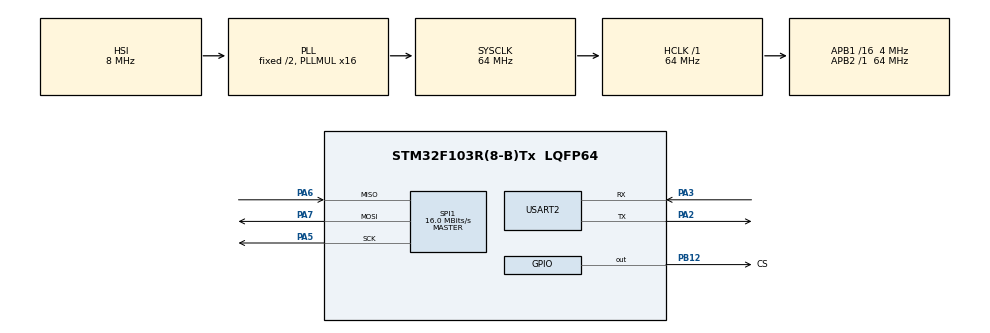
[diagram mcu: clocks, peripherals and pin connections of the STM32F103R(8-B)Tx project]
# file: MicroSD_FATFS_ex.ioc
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FATFS._MAX_SS=4096
FATFS._USE_LFN=1
Mcu.Family=STM32F1
Mcu.Name=STM32F103R(8-B)Tx
Mcu.Package=LQFP64
NVIC.PriorityGroup=NVIC_PRIORITYGROUP_4
PA13.Mode=Serial_Wire
PA13.Signal=SYS_JTMS-SWDIO
PA14.Mode=Serial_Wire
PA14.Signal=SYS_JTCK-SWCLK
PA2.Mode=Asynchronous
PA2.Signal=USART2_TX
PA3.Mode=Asynchronous
PA3.Signal=USART2_RX
PA5.Mode=Full_Duplex_Master
PA5.Signal=SPI1_SCK
PA6.Mode=Full_Duplex_Master
PA6.Signal=SPI1_MISO
PA7.Mode=Full_Duplex_Master
PA7.Signal=SPI1_MOSI
PB12.GPIO_Label=CS
PB12.GPIO_PuPd=GPIO_NOPULL
PB12.PinState=GPIO_PIN_SET
PB12.Signal=GPIO_Output
ProjectManager.HeapSize=0x200
ProjectManager.StackSize=0x400
ProjectManager.TargetToolchain=CMake
RCC.AHBFreq_Value=64000000
RCC.APB1CLKDivider=RCC_HCLK_DIV16
RCC.APB1Freq_Value=4000000
RCC.APB1TimFreq_Value=8000000
RCC.APB2Freq_Value=64000000
RCC.APB2TimFreq_Value=64000000
RCC.HCLKFreq_Value=64000000
RCC.PLLMUL=RCC_PLL_MUL16
RCC.SYSCLKFreq_VALUE=64000000
RCC.SYSCLKSource=RCC_SYSCLKSOURCE_PLLCLK
RCC.USBFreq_Value=64000000
SPI1.BaudRatePrescaler=SPI_BAUDRATEPRESCALER_4
SPI1.CalculateBaudRate=16.0 MBits/s
SPI1.Direction=SPI_DIRECTION_2LINES
SPI1.Mode=SPI_MODE_MASTER
SPI1.VirtualType=VM_MASTER
USART2.VirtualMode=VM_ASYNC
VP_FATFS_VS_Generic.Mode=User_defined
board=custom

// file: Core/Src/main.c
/* USER CODE BEGIN Header */
/**
 ******************************************************************************
 * @file           : main.c
 * @brief          : Main program body
 ******************************************************************************
 * @attention
 *
 * Copyright (c) 2025 STMicroelectronics.
 * All rights reserved.
 *
 * This software is licensed under terms that can be found in the LICENSE file
 * in the root directory of this software component.
 * If no LICENSE file comes with this software, it is provided AS-IS.
 *
 ******************************************************************************
 */
/* USER CODE END Header */
#include "main.h"
#include "fatfs.h"

/* USER CODE BEGIN Includes */
#include <stdarg.h>
#include <stdio.h>
#include <string.h>
/* USER CODE END Includes */

SPI_HandleTypeDef hspi1;

UART_HandleTypeDef huart2;

void        SystemClock_Config(void);
static void MX_GPIO_Init(void);
static void MX_SPI1_Init(void);
static void MX_USART2_UART_Init(void);

/* USER CODE BEGIN 0 */

void loop() { HAL_Delay(500); }
/* USER CODE END 0 */

int main(void) {

    /* MCU
     * Configuration--------------------------------------------------------*/

    /* Reset of all peripherals, Initializes the Flash interface and the
     * Systick. */
    HAL_Init();

    /* Configure the system clock */
    SystemClock_Config();

    /* Initialize all configured peripherals */
    MX_GPIO_Init();
    MX_SPI1_Init();
    MX_USART2_UART_Init();
    MX_FATFS_Init();
    /* USER CODE BEGIN 2 */
    FATFS   fs;
    FIL     fil;
    uint8_t buf[256];
    UINT    size;
    DIR     dir;
    char    str[256] = "UART Start";
    HAL_UART_Transmit(&huart2, (uint8_t *)str, strlen(str), 0xFF);

    FRESULT fr = f_mount(&fs, "", 0);
    if (fr != FR_OK) {
        Error_Handler();
    }
    fr = f_chdir("testdir");
    fr = f_open(&fil, "hello.txt", FA_READ | FA_WRITE);
    f_lseek(&fil, f_size(&fil));
    f_puts("12340000", &fil);
    /**
     * 파일을 닫아야 버퍼에 남은 데이터들이 저장된다.
     */
    fr = f_close(&fil);
    if (fr != FR_OK) {
        Error_Handler();
    }
    fr = f_open(&fil, "hello.txt", FA_READ | FA_WRITE);
    f_gets((TCHAR *)buf, 256, &fil);
    if (fr != FR_OK) {
        Error_Handler();
    }
    f_mount(NULL, "", 1);
    HAL_UART_Transmit(&huart2, (uint8_t *)buf, strlen((char *)buf), 0xFF);

    /* USER CODE END 2 */

    /* Infinite loop */
    while (1) {

    }
}

void SystemClock_Config(void) {
    RCC_OscInitTypeDef RCC_OscInitStruct = {0};
    RCC_ClkInitTypeDef RCC_ClkInitStruct = {0};

    /** Initializes the RCC Oscillators according to the specified parameters
     * in the RCC_OscInitTypeDef structure.
     */
    RCC_OscInitStruct.OscillatorType      = RCC_OSCILLATORTYPE_HSI;
    RCC_OscInitStruct.HSIState            = RCC_HSI_ON;
    RCC_OscInitStruct.HSICalibrationValue = RCC_HSICALIBRATION_DEFAULT;
    RCC_OscInitStruct.PLL.PLLState        = RCC_PLL_ON;
    RCC_OscInitStruct.PLL.PLLSource       = RCC_PLLSOURCE_HSI_DIV2;
    RCC_OscInitStruct.PLL.PLLMUL          = RCC_PLL_MUL16;
    if (HAL_RCC_OscConfig(&RCC_OscInitStruct) != HAL_OK) {
        Error_Handler();
    }

    /** Initializes the CPU, AHB and APB buses clocks
     */
    RCC_ClkInitStruct.ClockType = RCC_CLOCKTYPE_HCLK | RCC_CLOCKTYPE_SYSCLK |
                                  RCC_CLOCKTYPE_PCLK1 | RCC_CLOCKTYPE_PCLK2;
    RCC_ClkInitStruct.SYSCLKSource   = RCC_SYSCLKSOURCE_PLLCLK;
    RCC_ClkInitStruct.AHBCLKDivider  = RCC_SYSCLK_DIV1;
    RCC_ClkInitStruct.APB1CLKDivider = RCC_HCLK_DIV16;
    RCC_ClkInitStruct.APB2CLKDivider = RCC_HCLK_DIV1;

    if (HAL_RCC_ClockConfig(&RCC_ClkInitStruct, FLASH_LATENCY_2) != HAL_OK) {
        Error_Handler();
    }
}

static void MX_SPI1_Init(void) {

    /* SPI1 parameter configuration*/
    hspi1.Instance               = SPI1;
    hspi1.Init.Mode              = SPI_MODE_MASTER;
    hspi1.Init.Direction         = SPI_DIRECTION_2LINES;
    hspi1.Init.DataSize          = SPI_DATASIZE_8BIT;
    hspi1.Init.CLKPolarity       = SPI_POLARITY_LOW;
    hspi1.Init.CLKPhase          = SPI_PHASE_1EDGE;
    hspi1.Init.NSS               = SPI_NSS_SOFT;
    hspi1.Init.BaudRatePrescaler = SPI_BAUDRATEPRESCALER_256;
    hspi1.Init.FirstBit          = SPI_FIRSTBIT_MSB;
    hspi1.Init.TIMode            = SPI_TIMODE_DISABLE;
    hspi1.Init.CRCCalculation    = SPI_CRCCALCULATION_DISABLE;
    hspi1.Init.CRCPolynomial     = 10;
    if (HAL_SPI_Init(&hspi1) != HAL_OK) {
        Error_Handler();
    }
}

static void MX_USART2_UART_Init(void) {

    huart2.Instance          = USART2;
    huart2.Init.BaudRate     = 115200;
    huart2.Init.WordLength   = UART_WORDLENGTH_8B;
    huart2.Init.StopBits     = UART_STOPBITS_1;
    huart2.Init.Parity       = UART_PARITY_NONE;
    huart2.Init.Mode         = UART_MODE_TX_RX;
    huart2.Init.HwFlowCtl    = UART_HWCONTROL_NONE;
    huart2.Init.OverSampling = UART_OVERSAMPLING_16;
    if (HAL_UART_Init(&huart2) != HAL_OK) {
        Error_Handler();
    }
}

static void MX_GPIO_Init(void) {
    GPIO_InitTypeDef GPIO_InitStruct = {0};

    /* GPIO Ports Clock Enable */
    __HAL_RCC_GPIOA_CLK_ENABLE();
    __HAL_RCC_GPIOB_CLK_ENABLE();

    /*Configure GPIO pin Output Level */
    HAL_GPIO_WritePin(CS_GPIO_Port, CS_Pin, GPIO_PIN_SET);

    /*Configure GPIO pin : CS_Pin */
    GPIO_InitStruct.Pin   = CS_Pin;
    GPIO_InitStruct.Mode  = GPIO_MODE_OUTPUT_PP;
    GPIO_InitStruct.Pull  = GPIO_NOPULL;
    GPIO_InitStruct.Speed = GPIO_SPEED_FREQ_LOW;
    HAL_GPIO_Init(CS_GPIO_Port, &GPIO_InitStruct);

}

void Error_Handler(void) {
    /* USER CODE BEGIN Error_Handler_Debug */
    /* User can add his own implementation to report the HAL error return state
     */
    __disable_irq();
    while (1) {
    }
    /* USER CODE END Error_Handler_Debug */
}

#ifdef USE_FULL_ASSERT
/**
 * @brief  Reports the name of the source file and the source line number
 *         where the assert_param error has occurred.
 * @param  file: pointer to the source file name
 * @param  line: assert_param error line source number
 * @retval None
 */
void assert_failed(uint8_t *file, uint32_t line) {
    /* USER CODE BEGIN 6 */
    /* User can add his own implementation to report the file name and line
       number, ex: printf("Wrong parameters value: file %s on line %d\r\n",
       file, line) */
    /* USER CODE END 6 */
}
#endif /* USE_FULL_ASSERT */
